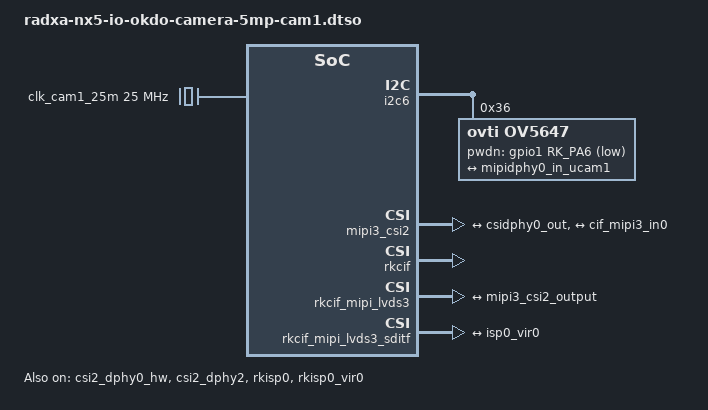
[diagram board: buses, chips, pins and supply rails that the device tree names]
/dts-v1/;
/plugin/;

#include <dt-bindings/gpio/gpio.h>
#include <dt-bindings/pinctrl/rockchip.h>

/ {
	metadata {
		title ="Enable OKDO Camera 5MP on CAM1";
		compatible = "radxa,nx5-io";
		category = "camera";
		exclusive = "csi2_dphy2";
		description = "Enable OKDO Camera 5MP on CAM1.";
	};
};


&{/} {
	clk_cam1_25m: external-camera-clock-25m {
		compatible = "fixed-clock";
		clock-frequency = <25000000>;
		clock-output-names = "clk_cam1_25m";
		#clock-cells = <0>;
	};
};

&i2c6 {
	status = "okay";
	#address-cells = <1>;
	#size-cells = <0>;

	ov5647: ov5647@36 {
		status = "okay";
		compatible = "ovti,ov5647";
		reg = <0x36>;
		clocks = <&clk_cam1_25m>;
		pwdn-gpios = <&gpio1 RK_PA6 GPIO_ACTIVE_LOW>;
		clock-names = "ext_cam_clk";
		rockchip,camera-module-index = <0>;
		rockchip,camera-module-facing = "back";
		rockchip,camera-module-name = "OKDO-5MP";
		rockchip,camera-module-lens-name = "default";

		port {
			ov5647_out1: endpoint {
				remote-endpoint = <&mipidphy0_in_ucam1>;
				data-lanes = <1 2>;
			};
		};
	};
};

&csi2_dphy0_hw {
	status = "okay";
};

&csi2_dphy2 {
	status = "okay";

	ports {
		#address-cells = <1>;
		#size-cells = <0>;

		port@0 {
			reg = <0>;
			#address-cells = <1>;
			#size-cells = <0>;

			mipidphy0_in_ucam1: endpoint@2 {
				reg = <2>;
				remote-endpoint = <&ov5647_out1>;
				data-lanes = <1 2>;
			};
		};

		port@1 {
			reg = <1>;
			#address-cells = <1>;
			#size-cells = <0>;

			csidphy0_out: endpoint@0 {
				reg = <0>;
				remote-endpoint = <&mipi3_csi2_input>;
			};
		};
	};
};

&mipi3_csi2 {
	status = "okay";

	ports {
		#address-cells = <1>;
		#size-cells = <0>;

		port@0 {
			reg = <0>;
			#address-cells = <1>;
			#size-cells = <0>;

			mipi3_csi2_input: endpoint@1 {
				reg = <1>;
				remote-endpoint = <&csidphy0_out>;
			};
		};

		port@1 {
			reg = <1>;
			#address-cells = <1>;
			#size-cells = <0>;

			mipi3_csi2_output: endpoint@0 {
				reg = <0>;
				remote-endpoint = <&cif_mipi3_in0>;
			};
		};
	};
};

&rkcif {
	status = "okay";
};

&rkcif_mipi_lvds3 {
	status = "okay";

	port {
		cif_mipi3_in0: endpoint {
			remote-endpoint = <&mipi3_csi2_output>;
		};
	};
};

&rkcif_mipi_lvds3_sditf {
	status = "okay";

	port {
		mipi_lvds3_sditf: endpoint {
			remote-endpoint = <&isp0_vir0>;
		};
	};
};

&rkcif_mmu {
	status = "okay";
};

&isp0_mmu {
	status = "okay";
};

&rkisp0 {
	status = "okay";
};

&rkisp0_vir0 {
	status = "okay";

	port {
		#address-cells = <1>;
		#size-cells = <0>;

		isp0_vir0: endpoint@0 {
			reg = <0>;
			remote-endpoint = <&mipi_lvds3_sditf>;
		};
	};
};
